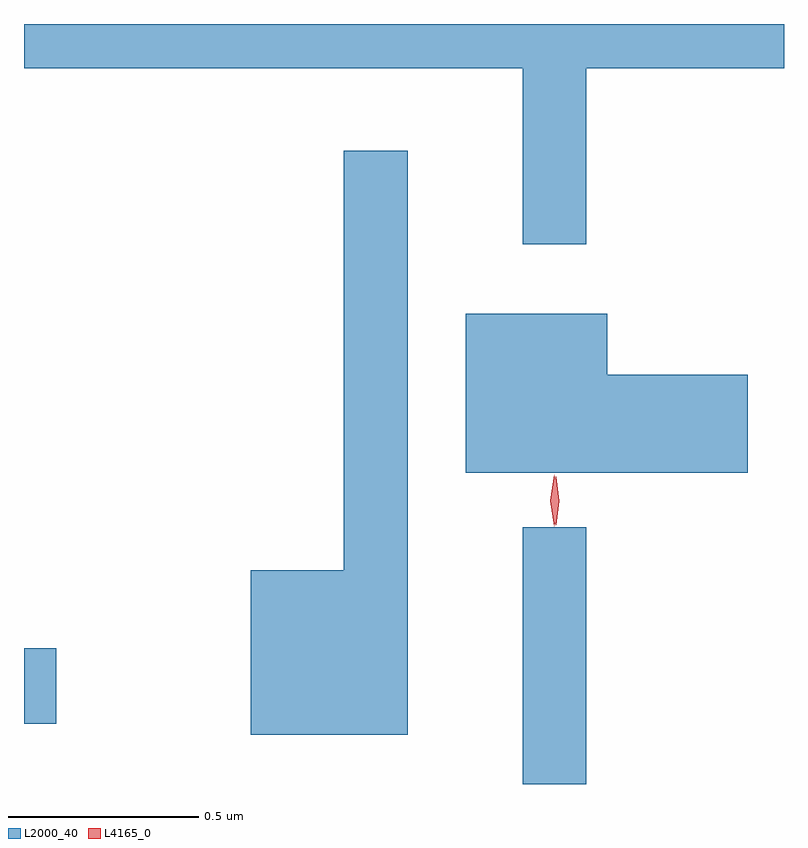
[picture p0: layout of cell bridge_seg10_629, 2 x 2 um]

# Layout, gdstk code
import gdstk
lib = gdstk.Library(unit=1e-6, precision=1e-09)
def R(c, l, rs):  # rectangles x0, y0, x1, y1
    for r in rs: c.add(gdstk.rectangle(r[:2], r[2:], *l))
def P(c, l, *ps):  # polygons
    for p in ps: c.add(gdstk.Polygon(p, *l))
L2000_40 = (2000, 40)
L4165_0 = (4165, 0)

bridge_seg10_629 = lib.new_cell('bridge_seg10_629')
R(bridge_seg10_629, L2000_40, [(761.021,2109.812,761.189,2110.488), (759.709,2109.971,759.794,2110.169)])
P(bridge_seg10_629, L2000_40, [(761.189,2111.696),(761.709,2111.696),(761.709,2111.812),(759.709,2111.812),(759.709,2111.696),(761.021,2111.696),(761.021,2111.233),(761.189,2111.233)],
  [(760.719,2111.478),(760.551,2111.478),(760.551,2110.374),(760.306,2110.374),(760.306,2109.941),(760.719,2109.941)],
  [(761.614,2110.889),(761.244,2110.889),(761.244,2111.049),(760.871,2111.049),(760.871,2110.631),(761.614,2110.631)])
P(bridge_seg10_629, L4165_0, [(761.104,2110.49),(761.094,2110.558),(761.104,2110.626),(761.104,2110.626),(761.104,2110.626),(761.114,2110.558),(761.105,2110.49),(761.105,2110.49)],
  [(761.108,2110.493),(761.108,2110.494),(761.098,2110.556),(761.108,2110.62),(761.108,2110.62),(761.109,2110.62),(761.118,2110.556),(761.109,2110.494)])

lib.write_gds('bridge_seg10_629.gds')
